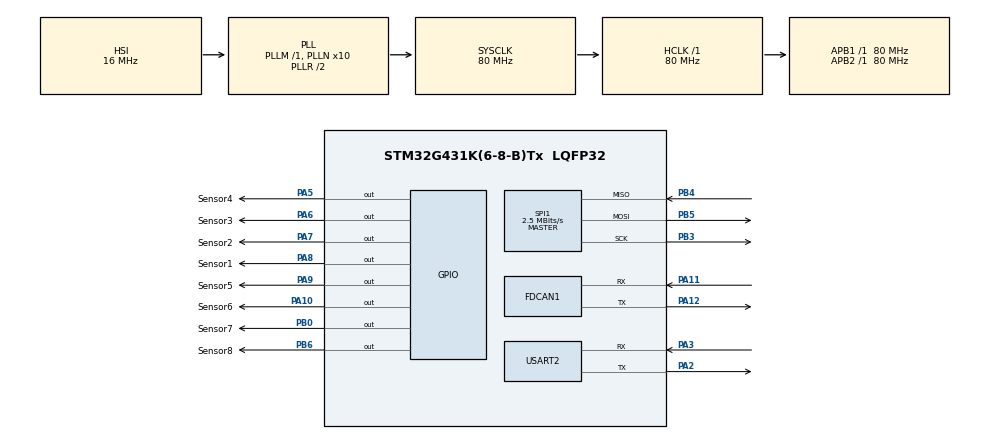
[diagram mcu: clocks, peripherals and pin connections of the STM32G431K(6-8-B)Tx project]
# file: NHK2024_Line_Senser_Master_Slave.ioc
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FDCAN1.CalculateBaudRateNominal=470588
FDCAN1.CalculateTimeBitNominal=2125
FDCAN1.CalculateTimeQuantumNominal=212.5
FDCAN1.NominalPrescaler=17
FDCAN1.NominalTimeSeg1=7
FDCAN1.NominalTimeSeg2=2
Mcu.Family=STM32G4
Mcu.Name=STM32G431K(6-8-B)Tx
Mcu.Package=LQFP32
NVIC.PriorityGroup=NVIC_PRIORITYGROUP_4
NVIC.TIM6_DAC_IRQn=true\:0\:0\:false\:false\:true\:true\:true\:true
PA10.GPIO_Label=Sensor6
PA10.PinState=GPIO_PIN_SET
PA10.Signal=GPIO_Output
PA11.Mode=FDCAN_Activate
PA11.Signal=FDCAN1_RX
PA12.Mode=FDCAN_Activate
PA12.Signal=FDCAN1_TX
PA2.Mode=Asynchronous
PA2.Signal=USART2_TX
PA3.Mode=Asynchronous
PA3.Signal=USART2_RX
PA5.GPIO_Label=Sensor4
PA5.PinState=GPIO_PIN_SET
PA5.Signal=GPIO_Output
PA6.GPIO_Label=Sensor3
PA6.PinState=GPIO_PIN_SET
PA6.Signal=GPIO_Output
PA7.GPIO_Label=Sensor2
PA7.PinState=GPIO_PIN_SET
PA7.Signal=GPIO_Output
PA8.GPIO_Label=Sensor1
PA8.PinState=GPIO_PIN_SET
PA8.Signal=GPIO_Output
PA9.GPIO_Label=Sensor5
PA9.PinState=GPIO_PIN_SET
PA9.Signal=GPIO_Output
PB0.GPIO_Label=Sensor7
PB0.PinState=GPIO_PIN_SET
PB0.Signal=GPIO_Output
PB3.Mode=Full_Duplex_Master
PB3.Signal=SPI1_SCK
PB4.Mode=Full_Duplex_Master
PB4.Signal=SPI1_MISO
PB5.Mode=Full_Duplex_Master
PB5.Signal=SPI1_MOSI
PB6.GPIO_FM6=__NULL
PB6.GPIO_Label=Sensor8
PB6.PinState=GPIO_PIN_SET
PB6.Signal=GPIO_Output
ProjectManager.HeapSize=0x200
ProjectManager.StackSize=0x400
ProjectManager.TargetToolchain=STM32CubeIDE
RCC.ADC12Freq_Value=80000000
RCC.AHBFreq_Value=80000000
RCC.APB1Freq_Value=80000000
RCC.APB1TimFreq_Value=80000000
RCC.APB2Freq_Value=80000000
RCC.APB2TimFreq_Value=80000000
RCC.CortexFreq_Value=80000000
RCC.EXTERNAL_CLOCK_VALUE=12288000
RCC.HCLKFreq_Value=80000000
RCC.HSE_VALUE=8000000
RCC.HSI48_VALUE=48000000
RCC.HSI_VALUE=16000000
RCC.LSE_VALUE=32768
RCC.PLLN=10
RCC.SYSCLKFreq_VALUE=80000000
RCC.SYSCLKSource=RCC_SYSCLKSOURCE_PLLCLK
RCC.USBFreq_Value=80000000
RCC.VCOOutputFreq_Value=160000000
SPI1.BaudRatePrescaler=SPI_BAUDRATEPRESCALER_32
SPI1.CLKPhase=SPI_PHASE_2EDGE
SPI1.CLKPolarity=SPI_POLARITY_HIGH
SPI1.CalculateBaudRate=2.5 MBits/s
SPI1.DataSize=SPI_DATASIZE_8BIT
SPI1.Direction=SPI_DIRECTION_2LINES
SPI1.Mode=SPI_MODE_MASTER
SPI1.VirtualType=VM_MASTER
TIM6.PeriodNoDither=100
TIM6.Prescaler=8000
USART2.VirtualMode-Asynchronous=VM_ASYNC
VP_TIM6_VS_ClockSourceINT.Mode=Enable_Timer
board=NUCLEO-G431KB

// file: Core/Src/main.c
/* USER CODE BEGIN Header */
/**
  ******************************************************************************
  * @file           : main.c
  * @brief          : Main program body
  ******************************************************************************
  * @attention
  *
  * Copyright (c) 2023 STMicroelectronics.
  * All rights reserved.
  *
  * This software is licensed under terms that can be found in the LICENSE file
  * in the root directory of this software component.
  * If no LICENSE file comes with this software, it is provided AS-IS.
  *
  ******************************************************************************
  */
/* USER CODE END Header */
#include "main.h"

/* USER CODE BEGIN Includes */
#include "filter.h"
#include "R2CANIDList.h"
#include <string.h>
#include <stdio.h>
/* USER CODE END Includes */

FDCAN_HandleTypeDef hfdcan1;

SPI_HandleTypeDef hspi1;

TIM_HandleTypeDef htim6;

UART_HandleTypeDef huart2;

/* USER CODE BEGIN PV */
unsigned char txBuf[2] = {0b01111000, 0x00}; // 痩身用のバッファ
unsigned char rxBuf[2]; // 受診用のバッファ
/* USER CODE END PV */

void SystemClock_Config(void);
static void MX_GPIO_Init(void);
static void MX_SPI1_Init(void);
static void MX_FDCAN1_Init(void);
static void MX_USART2_UART_Init(void);
static void MX_TIM6_Init(void);
/* USER CODE BEGIN PFP */
/*
 * アナログ・�?ジタル変換器からSPI通信で�?ータを読み込�?
 *
 * @param bufList それぞれのセンサのバッファを�?��?�にしたも�?�
 * @param sensorWhiteList それぞれのセンサの白?���?�期化時に設定される値?�?
 * @oaram sensorBlackList それぞれのセンサの黒（�?�期化時に設定される値?�?
 *
 * @return void
*/
void ReadADCCChannel();

/*
 * CAN通信で上位�?�マイコンに�?ータを�?�る関数
 *
 * @param Identifier CANID
 * @oaram DataLength �?ータ長
 * @param TxData 送る�?ータ
 */
void SendMessageOnCAN(uint32_t Identifier, uint32_t DataLength, uint8_t* TxData);
/* USER CODE END PFP */

/* USER CODE BEGIN 0 */
uint16_t sensorList[8] = {
		Sensor1_Pin,
		Sensor2_Pin,
		Sensor3_Pin,
		Sensor4_Pin,
		Sensor5_Pin,
		Sensor6_Pin,
		Sensor7_Pin,
		Sensor8_Pin
	};

GPIO_TypeDef* sensorPort[8] = {
		Sensor1_GPIO_Port,
		Sensor2_GPIO_Port,
		Sensor3_GPIO_Port,
		Sensor4_GPIO_Port,
		Sensor5_GPIO_Port,
		Sensor6_GPIO_Port,
		Sensor7_GPIO_Port,
		Sensor8_GPIO_Port
	};

/*
 * sampling value of sensor
 * Get this value before start
 */
unsigned int *sensorWhiteList = NULL;
unsigned int *sensorBlackList = NULL;

//unsigned int sensorWhiteList[8] = {
//		  1024, // センサ1
//		  1024, // センサ2
//		  1024, // センサ3
//		  1024, // センサ4
//		  1024, // センサ5
//		  1024, // センサ6
//		  1024, // センサ7
//		  1024  // センサ8
//};
///*�?*/
//unsigned int sensorBlackList[8] = {
//		  0, // センサ1
//		  0, // センサ2
//		  0, // センサ3
//		  0, // センサ4
//		  0, // センサ5
//		  0, // センサ6
//		  0, // センサ7
//		  0  // センサ8
//};

void ReadADCCChannel() {
	// 初期化
	static int isInitialized = 0;
	static NHK2024_Filter_Buffer* bufList[8];
	if (!isInitialized) {
		// Initialize buffer
		for (int sensor = 0; sensor < 8; sensor++ ) {
			bufList[sensor] = moving_average_filter_init(0.0, 10);
		}

		// Check if sensorXXXList is initialized
		if (sensorWhiteList == NULL || sensorBlackList == NULL) {
			Error_Handler();
		}

		// Do not delete following statement !!!
		isInitialized = 1;
	}

	double filterdSensorVal[8];

	for(int pin = 0; pin < 8; pin++ ) {
		HAL_GPIO_WritePin(sensorPort[pin], sensorList[pin], GPIO_PIN_SET); // 通信するスレーブを選択す�?
		HAL_SPI_TransmitReceive(&hspi1, txBuf, rxBuf, 2, HAL_MAX_DELAY); // SPI通信
		HAL_GPIO_WritePin(sensorPort[pin], sensorList[pin], GPIO_PIN_RESET); // スレーブ�?�選択を解除する

		unsigned int sensorVal = ((rxBuf[0] & 0x03) << 8) + rxBuf[1]; // �?ジタル値のセンサの値を取得する�?10bit?�?
		// 初めに取得した白(3.3V)と�?(0V)の値を使ってセンサの値をスケールする
		double scaledSensorVal;
		if (sensorVal >= sensorWhiteList[pin]) {
			scaledSensorVal = sensorWhiteList[pin];
		} else if (sensorVal <= sensorBlackList[pin]) {
			scaledSensorVal = sensorBlackList[pin];
		} else {
			scaledSensorVal = (sensorVal - sensorBlackList[pin]) * 1024 / (sensorWhiteList[pin] - sensorBlackList[pin]);
		}

		// ローバスフィルタを適応す�?
		filterdSensorVal[pin] = moving_average_filter_update(bufList[pin], (double) scaledSensorVal);

		// �?バッグ用の出力を書くところ
		printf("original sensor%d: %f\r\n", pin+1, filterdSensorVal[pin]);
	}

	// 横ずれを中央?��つのセンサを使って検�?�する
	/*
	 * diff = (右の二つのセンサの値の�?) - (左の二つのセンサの値の�?)
	 * if diff > 0 then ロボットがラインに対して右にずれて�?�?
	 * if diff < 0 then ロボットがラインに対して左にずれて�?�?
	 *
	 */
	float horizontalOffset = (filterdSensorVal[2 - 1] + filterdSensorVal[6 - 1]) - (filterdSensorVal[3 - 1] + filterdSensorVal[7 - 1]);

	// 角度のずれを中央4つのセンサを使って検�?�する
	/*
	 *�?�?�?�?り方が見つからな�?
	 * */

	// 水平ライン検�?�
	/*
	 * 上�?�4つのセンサと下�?�四つのセンサを使って水平ラインを検�?�する
	 * 多�?, 8つのセンサの�?ちそれぞれの側?��左右?��で�?つづつセンサが反応すれ�?�OKかな
	 * 後で実�?する
	 */
	uint8_t verticalLineDetector = 0;

	// CAN通信で上位�?�基盤に送る
	// 横ずれ
	uint8_t horizontalOffsetTxData[4];
	memcpy(horizontalOffsetTxData, &horizontalOffset, sizeof(float));
	SendMessageOnCAN((uint32_t)CANID_LATERAL_SHIFT, FDCAN_DLC_BYTES_4, horizontalOffsetTxData);

	// 水平ライン検�?�
	uint8_t verticalLineDetectorTxData[1] = { // 意味はな�?けど, 今後�?�バグ防止
			verticalLineDetector
	};
	SendMessageOnCAN((uint32_t)CANID_LINE_DETECT, FDCAN_DLC_BYTES_1, verticalLineDetectorTxData);
	return;
}

void SendMessageOnCAN(uint32_t Identifier, uint32_t DataLength, uint8_t* TxData) {
	FDCAN_TxHeaderTypeDef TxHeader;
//	HAL_StatusTypeDef HAL_ret;
	TxHeader.Identifier = Identifier;                 // ID
	TxHeader.IdType = FDCAN_STANDARD_ID;         // 標準ID
	TxHeader.TxFrameType = FDCAN_DATA_FRAME;     // �?ータフレー�?
	TxHeader.DataLength = DataLength;     // 3バイトデータ
	TxHeader.ErrorStateIndicator = FDCAN_ESI_ACTIVE;
	TxHeader.BitRateSwitch = FDCAN_BRS_OFF;
	TxHeader.FDFormat = FDCAN_CLASSIC_CAN;
	TxHeader.TxEventFifoControl = FDCAN_NO_TX_EVENTS;
	TxHeader.MessageMarker = 0;

	if (HAL_FDCAN_AddMessageToTxFifoQ(&hfdcan1, &TxHeader, TxData) != HAL_OK){
			Error_Handler();
	}

	return;
}

// Timer interrupt handler
void HAL_TIM_PeriodElapsedCallback(TIM_HandleTypeDef *htim)
{
    if (htim == &htim6){
        ReadADCCChannel();
    }
}

int _write(int file, char *ptr, int len)
{
  HAL_UART_Transmit(&huart2,(uint8_t *)ptr,len,10);
  return len;
}
/* USER CODE END 0 */

int main(void)
{
  /* USER CODE BEGIN 1 */
	setbuf(stdout, NULL); // printfの有効�?
  /* USER CODE END 1 */

  /* MCU Configuration--------------------------------------------------------*/

  /* Reset of all peripherals, Initializes the Flash interface and the Systick. */
  HAL_Init();

  /* Configure the system clock */
  SystemClock_Config();

  /* Initialize all configured peripherals */
  MX_GPIO_Init();
  MX_SPI1_Init();
  MX_FDCAN1_Init();
  MX_USART2_UART_Init();
  MX_TIM6_Init();
  /* USER CODE BEGIN 2 */
  // To do: Initialize sensorXXXList

  /*
   * Start Timer
   * TImer Settings are
   * Base clock   : 80MHz
   * Prescaler    : 80 * 10 ^ 3
   * CounterPriod : 100
   * So, interrupt range are 0.1s
   */
  HAL_TIM_Base_Start_IT(&htim6);

  /* USER CODE END 2 */

  /* Infinite loop */
  while (1)
  {

  }
}

void SystemClock_Config(void)
{
  RCC_OscInitTypeDef RCC_OscInitStruct = {0};
  RCC_ClkInitTypeDef RCC_ClkInitStruct = {0};

  /** Configure the main internal regulator output voltage
  */
  HAL_PWREx_ControlVoltageScaling(PWR_REGULATOR_VOLTAGE_SCALE1);

  /** Initializes the RCC Oscillators according to the specified parameters
  * in the RCC_OscInitTypeDef structure.
  */
  RCC_OscInitStruct.OscillatorType = RCC_OSCILLATORTYPE_HSI;
  RCC_OscInitStruct.HSIState = RCC_HSI_ON;
  RCC_OscInitStruct.HSICalibrationValue = RCC_HSICALIBRATION_DEFAULT;
  RCC_OscInitStruct.PLL.PLLState = RCC_PLL_ON;
  RCC_OscInitStruct.PLL.PLLSource = RCC_PLLSOURCE_HSI;
  RCC_OscInitStruct.PLL.PLLM = RCC_PLLM_DIV1;
  RCC_OscInitStruct.PLL.PLLN = 10;
  RCC_OscInitStruct.PLL.PLLP = RCC_PLLP_DIV2;
  RCC_OscInitStruct.PLL.PLLQ = RCC_PLLQ_DIV2;
  RCC_OscInitStruct.PLL.PLLR = RCC_PLLR_DIV2;
  if (HAL_RCC_OscConfig(&RCC_OscInitStruct) != HAL_OK)
  {
    Error_Handler();
  }

  /** Initializes the CPU, AHB and APB buses clocks
  */
  RCC_ClkInitStruct.ClockType = RCC_CLOCKTYPE_HCLK|RCC_CLOCKTYPE_SYSCLK
                              |RCC_CLOCKTYPE_PCLK1|RCC_CLOCKTYPE_PCLK2;
  RCC_ClkInitStruct.SYSCLKSource = RCC_SYSCLKSOURCE_PLLCLK;
  RCC_ClkInitStruct.AHBCLKDivider = RCC_SYSCLK_DIV1;
  RCC_ClkInitStruct.APB1CLKDivider = RCC_HCLK_DIV1;
  RCC_ClkInitStruct.APB2CLKDivider = RCC_HCLK_DIV1;

  if (HAL_RCC_ClockConfig(&RCC_ClkInitStruct, FLASH_LATENCY_2) != HAL_OK)
  {
    Error_Handler();
  }
}

static void MX_FDCAN1_Init(void)
{

  hfdcan1.Instance = FDCAN1;
  hfdcan1.Init.ClockDivider = FDCAN_CLOCK_DIV1;
  hfdcan1.Init.FrameFormat = FDCAN_FRAME_CLASSIC;
  hfdcan1.Init.Mode = FDCAN_MODE_NORMAL;
  hfdcan1.Init.AutoRetransmission = DISABLE;
  hfdcan1.Init.TransmitPause = DISABLE;
  hfdcan1.Init.ProtocolException = DISABLE;
  hfdcan1.Init.NominalPrescaler = 17;
  hfdcan1.Init.NominalSyncJumpWidth = 1;
  hfdcan1.Init.NominalTimeSeg1 = 7;
  hfdcan1.Init.NominalTimeSeg2 = 2;
  hfdcan1.Init.DataPrescaler = 1;
  hfdcan1.Init.DataSyncJumpWidth = 1;
  hfdcan1.Init.DataTimeSeg1 = 1;
  hfdcan1.Init.DataTimeSeg2 = 1;
  hfdcan1.Init.StdFiltersNbr = 0;
  hfdcan1.Init.ExtFiltersNbr = 0;
  hfdcan1.Init.TxFifoQueueMode = FDCAN_TX_FIFO_OPERATION;
  if (HAL_FDCAN_Init(&hfdcan1) != HAL_OK)
  {
    Error_Handler();
  }

}

static void MX_SPI1_Init(void)
{

  /* SPI1 parameter configuration*/
  hspi1.Instance = SPI1;
  hspi1.Init.Mode = SPI_MODE_MASTER;
  hspi1.Init.Direction = SPI_DIRECTION_2LINES;
  hspi1.Init.DataSize = SPI_DATASIZE_8BIT;
  hspi1.Init.CLKPolarity = SPI_POLARITY_HIGH;
  hspi1.Init.CLKPhase = SPI_PHASE_2EDGE;
  hspi1.Init.NSS = SPI_NSS_SOFT;
  hspi1.Init.BaudRatePrescaler = SPI_BAUDRATEPRESCALER_32;
  hspi1.Init.FirstBit = SPI_FIRSTBIT_MSB;
  hspi1.Init.TIMode = SPI_TIMODE_DISABLE;
  hspi1.Init.CRCCalculation = SPI_CRCCALCULATION_DISABLE;
  hspi1.Init.CRCPolynomial = 7;
  hspi1.Init.CRCLength = SPI_CRC_LENGTH_DATASIZE;
  hspi1.Init.NSSPMode = SPI_NSS_PULSE_DISABLE;
  if (HAL_SPI_Init(&hspi1) != HAL_OK)
  {
    Error_Handler();
  }

}

static void MX_TIM6_Init(void)
{

  TIM_MasterConfigTypeDef sMasterConfig = {0};

  htim6.Instance = TIM6;
  htim6.Init.Prescaler = 8000;
  htim6.Init.CounterMode = TIM_COUNTERMODE_UP;
  htim6.Init.Period = 100;
  htim6.Init.AutoReloadPreload = TIM_AUTORELOAD_PRELOAD_DISABLE;
  if (HAL_TIM_Base_Init(&htim6) != HAL_OK)
  {
    Error_Handler();
  }
  sMasterConfig.MasterOutputTrigger = TIM_TRGO_RESET;
  sMasterConfig.MasterSlaveMode = TIM_MASTERSLAVEMODE_DISABLE;
  if (HAL_TIMEx_MasterConfigSynchronization(&htim6, &sMasterConfig) != HAL_OK)
  {
    Error_Handler();
  }

}

static void MX_USART2_UART_Init(void)
{

  huart2.Instance = USART2;
  huart2.Init.BaudRate = 115200;
  huart2.Init.WordLength = UART_WORDLENGTH_8B;
  huart2.Init.StopBits = UART_STOPBITS_1;
  huart2.Init.Parity = UART_PARITY_NONE;
  huart2.Init.Mode = UART_MODE_TX_RX;
  huart2.Init.HwFlowCtl = UART_HWCONTROL_NONE;
  huart2.Init.OverSampling = UART_OVERSAMPLING_16;
  huart2.Init.OneBitSampling = UART_ONE_BIT_SAMPLE_DISABLE;
  huart2.Init.ClockPrescaler = UART_PRESCALER_DIV1;
  huart2.AdvancedInit.AdvFeatureInit = UART_ADVFEATURE_NO_INIT;
  if (HAL_UART_Init(&huart2) != HAL_OK)
  {
    Error_Handler();
  }
  if (HAL_UARTEx_SetTxFifoThreshold(&huart2, UART_TXFIFO_THRESHOLD_1_8) != HAL_OK)
  {
    Error_Handler();
  }
  if (HAL_UARTEx_SetRxFifoThreshold(&huart2, UART_RXFIFO_THRESHOLD_1_8) != HAL_OK)
  {
    Error_Handler();
  }
  if (HAL_UARTEx_DisableFifoMode(&huart2) != HAL_OK)
  {
    Error_Handler();
  }

}

static void MX_GPIO_Init(void)
{
  GPIO_InitTypeDef GPIO_InitStruct = {0};

  /* GPIO Ports Clock Enable */
  __HAL_RCC_GPIOA_CLK_ENABLE();
  __HAL_RCC_GPIOB_CLK_ENABLE();

  /*Configure GPIO pin Output Level */
  HAL_GPIO_WritePin(GPIOA, Sensor4_Pin|Sensor3_Pin|Sensor2_Pin|Sensor1_Pin
                          |Sensor5_Pin|Sensor6_Pin, GPIO_PIN_SET);

  /*Configure GPIO pin Output Level */
  HAL_GPIO_WritePin(GPIOB, Sensor7_Pin|Sensor8_Pin, GPIO_PIN_SET);

  /*Configure GPIO pins : Sensor4_Pin Sensor3_Pin Sensor2_Pin Sensor1_Pin
                           Sensor5_Pin Sensor6_Pin */
  GPIO_InitStruct.Pin = Sensor4_Pin|Sensor3_Pin|Sensor2_Pin|Sensor1_Pin
                          |Sensor5_Pin|Sensor6_Pin;
  GPIO_InitStruct.Mode = GPIO_MODE_OUTPUT_PP;
  GPIO_InitStruct.Pull = GPIO_NOPULL;
  GPIO_InitStruct.Speed = GPIO_SPEED_FREQ_LOW;
  HAL_GPIO_Init(GPIOA, &GPIO_InitStruct);

  /*Configure GPIO pins : Sensor7_Pin Sensor8_Pin */
  GPIO_InitStruct.Pin = Sensor7_Pin|Sensor8_Pin;
  GPIO_InitStruct.Mode = GPIO_MODE_OUTPUT_PP;
  GPIO_InitStruct.Pull = GPIO_NOPULL;
  GPIO_InitStruct.Speed = GPIO_SPEED_FREQ_LOW;
  HAL_GPIO_Init(GPIOB, &GPIO_InitStruct);

}

void Error_Handler(void)
{
  __disable_irq();
  while (1)
  {
  }
}
